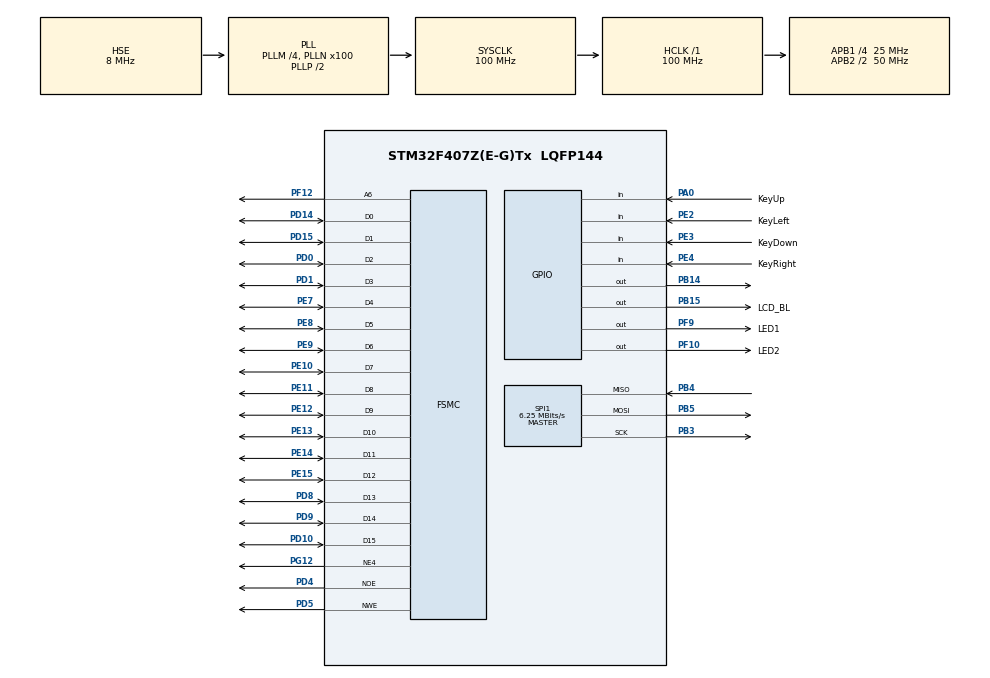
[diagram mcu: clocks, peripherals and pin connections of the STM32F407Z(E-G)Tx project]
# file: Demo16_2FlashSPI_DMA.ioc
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Dma.Request0=SPI1_TX
Dma.Request1=SPI1_RX
Dma.SPI1_RX.1.Direction=DMA_PERIPH_TO_MEMORY
Dma.SPI1_RX.1.FIFOMode=DMA_FIFOMODE_DISABLE
Dma.SPI1_RX.1.Instance=DMA2_Stream0
Dma.SPI1_RX.1.MemDataAlignment=DMA_MDATAALIGN_BYTE
Dma.SPI1_RX.1.MemInc=DMA_MINC_ENABLE
Dma.SPI1_RX.1.Mode=DMA_NORMAL
Dma.SPI1_RX.1.PeriphDataAlignment=DMA_PDATAALIGN_BYTE
Dma.SPI1_RX.1.PeriphInc=DMA_PINC_DISABLE
Dma.SPI1_RX.1.Priority=DMA_PRIORITY_LOW
Dma.SPI1_TX.0.Direction=DMA_MEMORY_TO_PERIPH
Dma.SPI1_TX.0.FIFOMode=DMA_FIFOMODE_DISABLE
Dma.SPI1_TX.0.Instance=DMA2_Stream3
Dma.SPI1_TX.0.MemDataAlignment=DMA_MDATAALIGN_BYTE
Dma.SPI1_TX.0.MemInc=DMA_MINC_ENABLE
Dma.SPI1_TX.0.Mode=DMA_NORMAL
Dma.SPI1_TX.0.PeriphDataAlignment=DMA_PDATAALIGN_BYTE
Dma.SPI1_TX.0.PeriphInc=DMA_PINC_DISABLE
Dma.SPI1_TX.0.Priority=DMA_PRIORITY_LOW
FSMC.AddressSetupTime4=2
FSMC.BusTurnAroundDuration4=0
FSMC.DataSetupTime4=16
FSMC.ExtendedAddressSetupTime4=4
FSMC.ExtendedBusTurnAroundDuration4=0
FSMC.ExtendedDataSetupTime4=9
FSMC.ExtendedMode4=FSMC_EXTENDED_MODE_ENABLE
Mcu.Family=STM32F4
Mcu.Name=STM32F407Z(E-G)Tx
Mcu.Package=LQFP144
NVIC.DMA2_Stream0_IRQn=true\:1\:0\:true\:false\:true\:false\:true\:true
NVIC.DMA2_Stream3_IRQn=true\:1\:0\:true\:false\:true\:false\:true\:true
NVIC.PriorityGroup=NVIC_PRIORITYGROUP_4
PA0-WKUP.GPIO_Label=KeyUp
PA0-WKUP.GPIO_PuPd=GPIO_PULLDOWN
PA0-WKUP.Signal=GPIO_Input
PA13.Mode=Serial_Wire
PA13.Signal=SYS_JTMS-SWDIO
PA14.Mode=Serial_Wire
PA14.Signal=SYS_JTCK-SWCLK
PB14.PinState=GPIO_PIN_SET
PB14.Signal=GPIO_Output
PB15.GPIO_Label=LCD_BL
PB15.PinState=GPIO_PIN_RESET
PB15.Signal=GPIO_Output
PB3.Mode=Full_Duplex_Master
PB3.Signal=SPI1_SCK
PB4.Mode=Full_Duplex_Master
PB4.Signal=SPI1_MISO
PB5.Mode=Full_Duplex_Master
PB5.Signal=SPI1_MOSI
PD0.Signal=FSMC_D2_DA2
PD1.Signal=FSMC_D3_DA3
PD10.Signal=FSMC_D15_DA15
PD14.Signal=FSMC_D0_DA0
PD15.Signal=FSMC_D1_DA1
PD4.Signal=FSMC_NOE
PD5.Signal=FSMC_NWE
PD8.Signal=FSMC_D13_DA13
PD9.Signal=FSMC_D14_DA14
PE10.Signal=FSMC_D7_DA7
PE11.Signal=FSMC_D8_DA8
PE12.Signal=FSMC_D9_DA9
PE13.Signal=FSMC_D10_DA10
PE14.Signal=FSMC_D11_DA11
PE15.Signal=FSMC_D12_DA12
PE2.GPIO_Label=KeyLeft
PE2.GPIO_PuPd=GPIO_PULLUP
PE2.Signal=GPIO_Input
PE3.GPIO_Label=KeyDown
PE3.GPIO_PuPd=GPIO_PULLUP
PE3.Signal=GPIO_Input
PE4.GPIO_Label=KeyRight
PE4.GPIO_PuPd=GPIO_PULLUP
PE4.Signal=GPIO_Input
PE7.Signal=FSMC_D4_DA4
PE8.Signal=FSMC_D5_DA5
PE9.Signal=FSMC_D6_DA6
PF10.GPIO_Label=LED2
PF10.Signal=GPIO_Output
PF12.Signal=FSMC_A6
PF9.GPIO_Label=LED1
PF9.Signal=GPIO_Output
PG12.Mode=NorPsramChipSelect4_4
PG12.Signal=FSMC_NE4
PH0-OSC_IN.Mode=HSE-External-Oscillator
PH0-OSC_IN.Signal=RCC_OSC_IN
PH1-OSC_OUT.Mode=HSE-External-Oscillator
PH1-OSC_OUT.Signal=RCC_OSC_OUT
ProjectManager.HeapSize=0x200
ProjectManager.StackSize=0x400
ProjectManager.TargetToolchain=STM32CubeIDE
RCC.48MHZClocksFreq_Value=50000000
RCC.AHBFreq_Value=100000000
RCC.APB1CLKDivider=RCC_HCLK_DIV4
RCC.APB1Freq_Value=25000000
RCC.APB1TimFreq_Value=50000000
RCC.APB2CLKDivider=RCC_HCLK_DIV2
RCC.APB2Freq_Value=50000000
RCC.APB2TimFreq_Value=100000000
RCC.CortexFreq_Value=100000000
RCC.FLatency=FLASH_LATENCY_3
RCC.HCLKFreq_Value=100000000
RCC.HSE_VALUE=8000000
RCC.HSI_VALUE=16000000
RCC.LSE_VALUE=32768
RCC.PLLM=4
RCC.PLLN=100
RCC.PLLSourceVirtual=RCC_PLLSOURCE_HSE
RCC.SYSCLKFreq_VALUE=100000000
RCC.SYSCLKSource=RCC_SYSCLKSOURCE_PLLCLK
RCC.VCOOutputFreq_Value=200000000
SH.FSMC_A6.0=FSMC_A6,A6_4
SH.FSMC_D0_DA0.0=FSMC_D0,16b-d4
SH.FSMC_D10_DA10.0=FSMC_D10,16b-d4
SH.FSMC_D11_DA11.0=FSMC_D11,16b-d4
SH.FSMC_D12_DA12.0=FSMC_D12,16b-d4
SH.FSMC_D13_DA13.0=FSMC_D13,16b-d4
SH.FSMC_D14_DA14.0=FSMC_D14,16b-d4
SH.FSMC_D15_DA15.0=FSMC_D15,16b-d4
SH.FSMC_D1_DA1.0=FSMC_D1,16b-d4
SH.FSMC_D2_DA2.0=FSMC_D2,16b-d4
SH.FSMC_D3_DA3.0=FSMC_D3,16b-d4
SH.FSMC_D4_DA4.0=FSMC_D4,16b-d4
SH.FSMC_D5_DA5.0=FSMC_D5,16b-d4
SH.FSMC_D6_DA6.0=FSMC_D6,16b-d4
SH.FSMC_D7_DA7.0=FSMC_D7,16b-d4
SH.FSMC_D8_DA8.0=FSMC_D8,16b-d4
SH.FSMC_D9_DA9.0=FSMC_D9,16b-d4
SH.FSMC_NOE.0=FSMC_NOE,Lcd4
SH.FSMC_NWE.0=FSMC_NWE,Lcd4
SPI1.BaudRatePrescaler=SPI_BAUDRATEPRESCALER_8
SPI1.CLKPhase=SPI_PHASE_2EDGE
SPI1.CLKPolarity=SPI_POLARITY_HIGH
SPI1.CalculateBaudRate=6.25 MBits/s
SPI1.Direction=SPI_DIRECTION_2LINES
SPI1.Mode=SPI_MODE_MASTER
SPI1.VirtualType=VM_MASTER
board=custom

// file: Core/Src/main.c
/* USER CODE BEGIN Header */
/**
  ******************************************************************************
  * @file           : main.c
  * @brief          : Main program body
  ******************************************************************************
  * @attention
  *
  * Copyright (c) 2023 STMicroelectronics.
  * All rights reserved.
  *
  * This software is licensed under terms that can be found in the LICENSE file
  * in the root directory of this software component.
  * If no LICENSE file comes with this software, it is provided AS-IS.
  *
  ******************************************************************************
  */
/* USER CODE END Header */
#include "main.h"
#include "dma.h"
#include "spi.h"
#include "gpio.h"
#include "fsmc.h"

/* USER CODE BEGIN Includes */
#include "lcd.h"
#include "keyled.h"
#include "w25flash.h"
/* USER CODE END Includes */

void SystemClock_Config(void);

int main(void)
{

  /* MCU Configuration--------------------------------------------------------*/

  /* Reset of all peripherals, Initializes the Flash interface and the Systick. */
  HAL_Init();

  /* Configure the system clock */
  SystemClock_Config();

  /* Initialize all configured peripherals */
  MX_GPIO_Init();
  MX_DMA_Init();
  MX_FSMC_Init();
  MX_SPI1_Init();
  /* USER CODE BEGIN 2 */
  lcd_init();
  lcd_show_str(10, 0*30 + 10, 24, "Demo16_2:SPI-DMA Read/Write", RED);
  lcd_show_str(10, 1*30 + 10, 24, "128M-bit --Flash Memory", RED);

  Flash_TestReadStatus();

  lcd_show_str(10, 6*30 + 10, 24, "[1]KeyUp    = Erase Chip", RED);
  lcd_show_str(10, 7*30 + 10, 24, "[2]KeyDown  = Erase Sector 0", RED);
  lcd_show_str(10, 8*30 + 10, 24, "[3]KeyLeft  = Write Page 3", RED);
  lcd_show_str(10, 9*30 + 10, 24, "[4]KeyRight = Read Page 3", RED);
  /* USER CODE END 2 */

  /* Infinite loop */
  /* USER CODE BEGIN WHILE */
  while (1)
  {
	  KEYS curkey = ScanPressedKey(KEY_WAIT_ALWAYS);
	  switch (curkey) {
		  case KEY_UP:
			  lcd_fill(0, 10*30 + 10, 479, 799, WHITE);
			  lcd_show_str(10,11*30 + 10, 24, "Erasing chip, about 30 sec...", RED);
			  Flash_EraseChip();
			  lcd_show_str(10,12*30 + 10, 24, "Chip is erased.              ", RED);
			  break;
		  case KEY_DOWN:
			  lcd_fill(0, 10*30 + 10, 479, 799, WHITE);
			  lcd_show_str(10,11*30 + 10, 24, "Erasing Sector 0(16 pages)...", RED);
			  uint32_t globalAddr = 0;
			  Flash_EraseBlock64K(globalAddr);
			  lcd_show_str(10,12*30 + 10, 24, "Sector 0 is erased.           ", RED);
			  break;
		  case KEY_LEFT:
			  lcd_fill(0, 10*30 + 10, 479, 799, WHITE);
			  Flash_TestWriteDMA();
			  break;
		  case KEY_RIGHT:
			  lcd_fill(0, 10*30 + 10, 479, 799, WHITE);
			  Flash_TestReadDMA();
			  break;
	  }
	  lcd_show_str(10,18*30 + 10, 24, "**Reselect menu or reset**", RED);
	  HAL_Delay(500);
    /* USER CODE END WHILE */

  }
}

void SystemClock_Config(void)
{
  RCC_OscInitTypeDef RCC_OscInitStruct = {0};
  RCC_ClkInitTypeDef RCC_ClkInitStruct = {0};

  /** Configure the main internal regulator output voltage
  */
  __HAL_RCC_PWR_CLK_ENABLE();
  __HAL_PWR_VOLTAGESCALING_CONFIG(PWR_REGULATOR_VOLTAGE_SCALE1);

  /** Initializes the RCC Oscillators according to the specified parameters
  * in the RCC_OscInitTypeDef structure.
  */
  RCC_OscInitStruct.OscillatorType = RCC_OSCILLATORTYPE_HSE;
  RCC_OscInitStruct.HSEState = RCC_HSE_ON;
  RCC_OscInitStruct.PLL.PLLState = RCC_PLL_ON;
  RCC_OscInitStruct.PLL.PLLSource = RCC_PLLSOURCE_HSE;
  RCC_OscInitStruct.PLL.PLLM = 4;
  RCC_OscInitStruct.PLL.PLLN = 100;
  RCC_OscInitStruct.PLL.PLLP = RCC_PLLP_DIV2;
  RCC_OscInitStruct.PLL.PLLQ = 4;
  if (HAL_RCC_OscConfig(&RCC_OscInitStruct) != HAL_OK)
  {
    Error_Handler();
  }

  /** Initializes the CPU, AHB and APB buses clocks
  */
  RCC_ClkInitStruct.ClockType = RCC_CLOCKTYPE_HCLK|RCC_CLOCKTYPE_SYSCLK
                              |RCC_CLOCKTYPE_PCLK1|RCC_CLOCKTYPE_PCLK2;
  RCC_ClkInitStruct.SYSCLKSource = RCC_SYSCLKSOURCE_PLLCLK;
  RCC_ClkInitStruct.AHBCLKDivider = RCC_SYSCLK_DIV1;
  RCC_ClkInitStruct.APB1CLKDivider = RCC_HCLK_DIV4;
  RCC_ClkInitStruct.APB2CLKDivider = RCC_HCLK_DIV2;

  if (HAL_RCC_ClockConfig(&RCC_ClkInitStruct, FLASH_LATENCY_3) != HAL_OK)
  {
    Error_Handler();
  }
}

void Error_Handler(void)
{
  __disable_irq();
  while (1)
  {
  }
}
